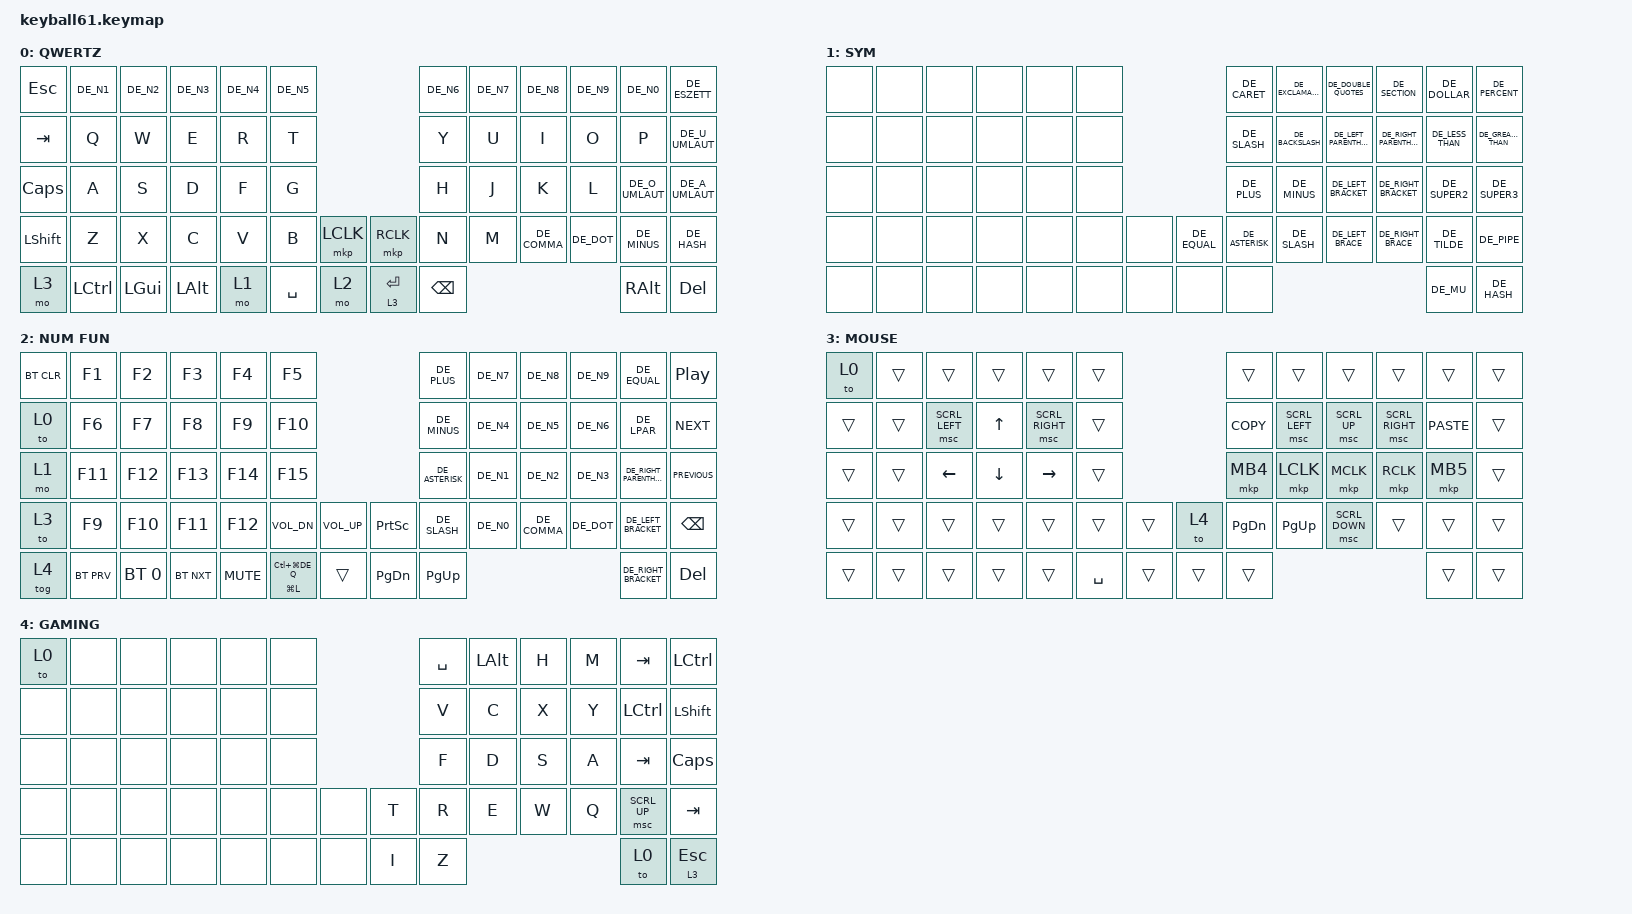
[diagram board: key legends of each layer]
#define DEFAULT 0
#define SYM     1
#define FUN     2
#define MOUSE   3
#define SCROLL  4
#define SNIPE   5

#include <behaviors/mouse_keys.dtsi>
#include <dt-bindings/zmk/mouse.h>
#include "keys_de.h" // New

#define ZMK_POINTING_DEFAULT_MOVE_VAL 600  // default: 600
#define ZMK_POINTING_DEFAULT_SCRL_VAL 20    // default: 10

#include <behaviors.dtsi>
#include <dt-bindings/zmk/bt.h>
#include <dt-bindings/zmk/keys.h>
#include <dt-bindings/zmk/pointing.h>

&lt {
    tapping-term-ms = <240>;
    flavor = "balanced";
    quick-tap-ms = <150>;
};

&mt {
    tapping-term-ms = <200>;
    flavor = "tap-preferred";
    quick-tap-ms = <150>;
};

/ {
    keymap {
        compatible = "zmk,keymap";

        default_layer {
            label = "QWERTZ ";
            bindings = <
&kp ESC         &kp DE_N1  &kp DE_N2     &kp DE_N3     &kp DE_N4  &kp DE_N5                          &kp DE_N6      &kp DE_N7  &kp DE_N8     &kp DE_N9   &kp DE_N0        &kp DE_ESZETT
&kp TAB         &kp Q      &kp W         &kp E         &kp R      &kp T                              &kp Y          &kp U      &kp I         &kp O       &kp P            &kp DE_U_UMLAUT
&kp CAPS        &kp A      &kp S         &kp D         &kp F      &kp G                              &kp H          &kp J      &kp K         &kp L       &kp DE_O_UMLAUT  &kp DE_A_UMLAUT
&kp LEFT_SHIFT  &kp Z      &kp X         &kp C         &kp V      &kp B      &mkp LCLK  &mkp RCLK    &kp N          &kp M      &kp DE_COMMA  &kp DE_DOT  &kp DE_MINUS     &kp DE_HASH
&mo 3           &kp LCTRL  &kp LEFT_GUI  &kp LEFT_ALT  &mo 1      &kp SPACE  &mo 2      &lt 3 ENTER  &kp BACKSPACE                                       &kp RIGHT_ALT    &kp DELETE
            >;
        };

        symbol_layer {
            label = "SYM ";
            bindings = <
&none  &none  &none  &none  &none  &none                       &kp DE_CARET     &kp DE_EXCLAMATION  &kp DE_DOUBLE_QUOTES     &kp DE_SECTION            &kp DE_DOLLAR     &kp DE_PERCENT
&none  &none  &none  &none  &none  &none                       &kp DE_SLASH     &kp DE_BACKSLASH    &kp DE_LEFT_PARENTHESIS  &kp DE_RIGHT_PARENTHESIS  &kp DE_LESS_THAN  &kp DE_GREATER_THAN
&none  &none  &none  &none  &none  &none                       &kp DE_PLUS      &kp DE_MINUS        &kp DE_LEFT_BRACKET      &kp DE_RIGHT_BRACKET      &kp DE_SUPER2     &kp DE_SUPER3
&none  &none  &none  &none  &none  &none  &none  &kp DE_EQUAL  &kp DE_ASTERISK  &kp DE_SLASH        &kp DE_LEFT_BRACE        &kp DE_RIGHT_BRACE        &kp DE_TILDE      &kp DE_PIPE
&none  &none  &none  &none  &none  &none  &none  &none         &none                                                                                   &kp DE_MU         &kp DE_HASH
            >;
        };

        function_layer {
            label = "NUM FUN ";
            bindings = <
&bt BT_CLR  &kp F1      &kp F2        &kp F3      &kp F4      &kp F5                                                 &kp DE_PLUS      &kp DE_N7  &kp DE_N8     &kp DE_N9   &kp DE_EQUAL              &kp C_PLAY_PAUSE
&to 0       &kp F6      &kp F7        &kp F8      &kp F9      &kp F10                                                &kp DE_MINUS     &kp DE_N4  &kp DE_N5     &kp DE_N6   &kp DE_LPAR               &kp C_NEXT
&mo 1       &kp F11     &kp F12       &kp F13     &kp F14     &kp F15                                                &kp DE_ASTERISK  &kp DE_N1  &kp DE_N2     &kp DE_N3   &kp DE_RIGHT_PARENTHESIS  &kp C_PREVIOUS
&to 3       &kp F9      &kp F10       &kp F11     &kp F12     &kp C_VOL_DN            &kp C_VOL_UP  &kp PRINTSCREEN  &kp DE_SLASH     &kp DE_N0  &kp DE_COMMA  &kp DE_DOT  &kp DE_LEFT_BRACKET       &kp BACKSPACE
&tog 4      &bt BT_PRV  &bt BT_SEL 0  &bt BT_NXT  &kp K_MUTE  &mt LG(L) LC(LG(DE_Q))  &trans        &kp PAGE_DOWN    &kp PAGE_UP                                           &kp DE_RIGHT_BRACKET      &kp DELETE
            >;
        };

        mouse_layer {
            label = "MOUSE ";
            bindings = <
&to 0   &trans  &trans          &trans        &trans           &trans                     &trans         &trans          &trans          &trans           &trans       &trans
&trans  &trans  &msc SCRL_LEFT  &kp UP_ARROW  &msc SCRL_RIGHT  &trans                     &kp K_COPY     &msc SCRL_LEFT  &msc SCRL_UP    &msc SCRL_RIGHT  &kp K_PASTE  &trans
&trans  &trans  &kp LEFT        &kp DOWN      &kp RIGHT        &trans                     &mkp MB4       &mkp LCLK       &mkp MCLK       &mkp RCLK        &mkp MB5     &trans
&trans  &trans  &trans          &trans        &trans           &trans     &trans  &to 4   &kp PAGE_DOWN  &kp PAGE_UP     &msc SCRL_DOWN  &trans           &trans       &trans
&trans  &trans  &trans          &trans        &trans           &kp SPACE  &trans  &trans  &trans                                                          &trans       &trans
            >;
        };

        gaming_layer {
            label = "GAMING ";
            bindings = <
&to 0  &none  &none  &none  &none  &none                &kp SPACE  &kp LALT  &kp H  &kp M  &kp TAB           &kp LCTRL
&none  &none  &none  &none  &none  &none                &kp V      &kp C     &kp X  &kp Y  &kp LEFT_CONTROL  &kp LSHFT
&none  &none  &none  &none  &none  &none                &kp F      &kp D     &kp S  &kp A  &kp TAB           &kp CAPS
&none  &none  &none  &none  &none  &none  &none  &kp T  &kp R      &kp E     &kp W  &kp Q  &msc SCRL_UP      &kp TAB
&none  &none  &none  &none  &none  &none  &none  &kp I  &kp Z                              &to 0             &lt 3 ESCAPE
            >;
        };
    };
};
